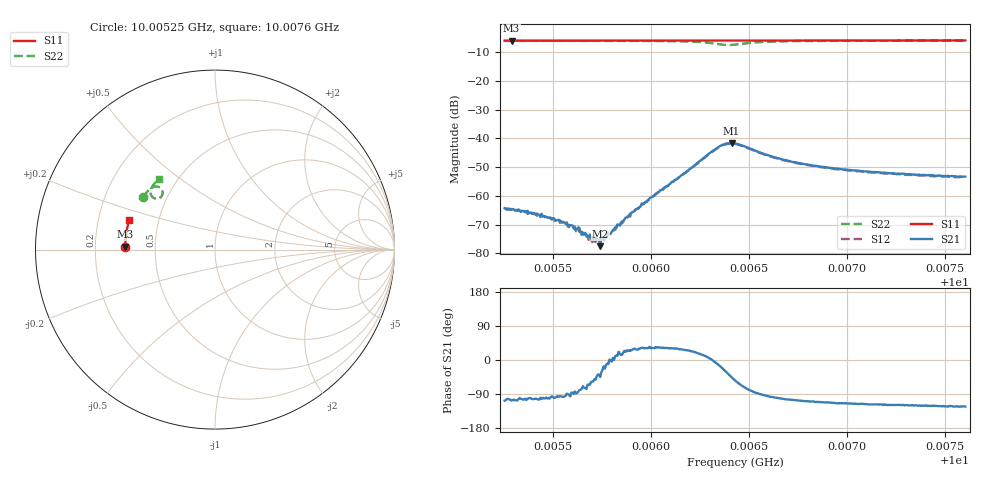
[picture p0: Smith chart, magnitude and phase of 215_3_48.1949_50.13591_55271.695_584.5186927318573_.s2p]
#  HZ  S  RI  R  50.00
! Rohde & Schwarz Vector Network Analyzer
! Rohde-Schwarz,ZNB20-2Port,1311601062101988,3.16
! Created: UTC 3/20/2024, 11:45:43 AM
! freq[Hz]  re:S11  im:S11  re:S21  im:S21  re:S12  im:S12  re:S22  im:S22
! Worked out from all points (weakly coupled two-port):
!   401 points, 10.00525 GHz to 10.0076 GHz, reference 50 ohm
!   highest |S21| = -41.63 dB at 10.00641 GHz (marker M1); lowest = -77.5 dB at 10.00574 GHz (marker M2)
!   lowest |S11| = -6.0 dB at 10.00529 GHz (marker M3), VSWR 3.00, Z = 16.7 + j0.723 ohm
!   |S11| at or under -10 dB: nowhere
!   |S22| runs from -7.5 to -6.0 dB; largest |S21 - S12| = 0.00049
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1.0005252e10  -0.5001 0.0138  -0.000181 -0.000583  -0.000117 -0.000566  -0.3999 0.2929
1.0005287e10  -0.4999 0.0163  -0.000176 -0.000566  -0.000103 -0.000559  -0.3985 0.2949
1.0005476e10  -0.4999 0.0284  -7.16e-05 -0.000408  -6.45e-05 -0.000424  -0.3906 0.3061
1.000554e10  -0.4997 0.0327  -3.61e-05 -0.000358  -1.68e-05 -0.000357  -0.3878 0.31
1.0005599e10  -0.4996 0.0365  2.18e-05 -0.000305  3.37e-05 -0.000291  -0.3849 0.3136
1.0005629e10  -0.4995 0.0385  3.48e-05 -0.000282  3.13e-05 -0.000251  -0.3835 0.3154
1.0005646e10  -0.4996 0.0395  5.16e-05 -0.000202  4.43e-05 -0.000231  -0.3827 0.3164
1.0005711e10  -0.4993 0.0438  0.000116 -0.000139  0.000107 -0.000119  -0.3794 0.3204
1.0005728e10  -0.4992 0.0449  0.000135 -0.000106  0.000135 -0.0001  -0.3784 0.3216
1.000574e10  -0.4993 0.0456  9.44e-05 -9.41e-05  0.000152 -0.000105  -0.3777 0.3222
1.0005752e10  -0.4991 0.0464  0.000167 -7.79e-05  0.00017 -8.91e-05  -0.3771 0.323
1.0005776e10  -0.4991 0.0479  0.00023 -4e-05  0.000195 -2.8e-05  -0.3757 0.3245
1.0005905e10  -0.4983 0.0562  0.000463 0.000239  0.000433 0.000252  -0.3675 0.3331
1.000604e10  -0.4975 0.065  0.000975 0.000654  0.00096 0.000652  -0.3559 0.3424
1.0006334e10  -0.4947 0.0838  0.00667 -0.001  0.00657 -0.000654  -0.2936 0.3281
1.0006375e10  -0.4942 0.0864  0.00706 -0.00365  0.00708 -0.00325  -0.2944 0.3039
1.0006411e10  -0.494 0.0883  0.00584 -0.00588  0.00601 -0.00548  -0.3096 0.2873
1.0006428e10  -0.4938 0.0894  0.00481 -0.00659  0.00508 -0.00619  -0.3198 0.284
1.0006617e10  -0.4924 0.1014  -0.000668 -0.00479  -0.000421 -0.00473  -0.3596 0.322
1.0006822e10  -0.49 0.1145  -0.00112 -0.00319  -0.00101 -0.00318  -0.3515 0.3478
1.0007217e10  -0.4844 0.1394  -0.00119 -0.00218  -0.00105 -0.00218  -0.3311 0.3749
1.0007605e10  -0.4777 0.1635  -0.00118 -0.00182  -0.00105 -0.00183  -0.3112 0.3944
